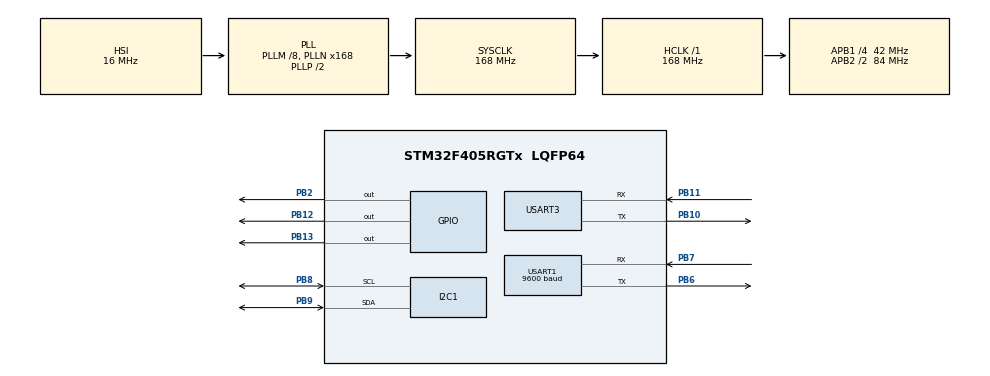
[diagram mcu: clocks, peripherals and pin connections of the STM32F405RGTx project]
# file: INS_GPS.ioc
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Dma.I2C1_RX.1.Direction=DMA_PERIPH_TO_MEMORY
Dma.I2C1_RX.1.FIFOMode=DMA_FIFOMODE_DISABLE
Dma.I2C1_RX.1.Instance=DMA1_Stream0
Dma.I2C1_RX.1.MemDataAlignment=DMA_MDATAALIGN_BYTE
Dma.I2C1_RX.1.MemInc=DMA_MINC_ENABLE
Dma.I2C1_RX.1.Mode=DMA_NORMAL
Dma.I2C1_RX.1.PeriphDataAlignment=DMA_PDATAALIGN_BYTE
Dma.I2C1_RX.1.PeriphInc=DMA_PINC_DISABLE
Dma.I2C1_RX.1.Priority=DMA_PRIORITY_LOW
Dma.I2C1_TX.2.Direction=DMA_MEMORY_TO_PERIPH
Dma.I2C1_TX.2.FIFOMode=DMA_FIFOMODE_DISABLE
Dma.I2C1_TX.2.Instance=DMA1_Stream6
Dma.I2C1_TX.2.MemDataAlignment=DMA_MDATAALIGN_BYTE
Dma.I2C1_TX.2.MemInc=DMA_MINC_ENABLE
Dma.I2C1_TX.2.Mode=DMA_NORMAL
Dma.I2C1_TX.2.PeriphDataAlignment=DMA_PDATAALIGN_BYTE
Dma.I2C1_TX.2.PeriphInc=DMA_PINC_DISABLE
Dma.I2C1_TX.2.Priority=DMA_PRIORITY_LOW
Dma.Request0=USART3_TX
Dma.Request1=I2C1_RX
Dma.Request2=I2C1_TX
Dma.USART3_TX.0.Direction=DMA_MEMORY_TO_PERIPH
Dma.USART3_TX.0.FIFOMode=DMA_FIFOMODE_DISABLE
Dma.USART3_TX.0.Instance=DMA1_Stream3
Dma.USART3_TX.0.MemDataAlignment=DMA_MDATAALIGN_BYTE
Dma.USART3_TX.0.MemInc=DMA_MINC_ENABLE
Dma.USART3_TX.0.Mode=DMA_NORMAL
Dma.USART3_TX.0.PeriphDataAlignment=DMA_PDATAALIGN_BYTE
Dma.USART3_TX.0.PeriphInc=DMA_PINC_DISABLE
Dma.USART3_TX.0.Priority=DMA_PRIORITY_LOW
I2C1.I2C_Mode=I2C_Fast
Mcu.Family=STM32F4
Mcu.Name=STM32F405RGTx
Mcu.Package=LQFP64
NVIC.DMA1_Stream0_IRQn=true\:0\:0\:false\:false\:true\:false\:true
NVIC.DMA1_Stream3_IRQn=true\:0\:0\:false\:false\:true\:false\:true
NVIC.DMA1_Stream6_IRQn=true\:0\:0\:false\:false\:true\:false\:true
NVIC.I2C1_ER_IRQn=true\:0\:0\:false\:false\:true\:true\:true
NVIC.I2C1_EV_IRQn=true\:0\:0\:false\:false\:true\:true\:true
NVIC.PriorityGroup=NVIC_PRIORITYGROUP_4
NVIC.USART1_IRQn=true\:0\:0\:false\:false\:true\:true\:true
NVIC.USART3_IRQn=true\:0\:0\:false\:false\:true\:true\:true
PA13.Mode=Serial_Wire
PA13.Signal=SYS_JTMS-SWDIO
PA14.Mode=Serial_Wire
PA14.Signal=SYS_JTCK-SWCLK
PB10.Mode=Asynchronous
PB10.Signal=USART3_TX
PB11.Mode=Asynchronous
PB11.Signal=USART3_RX
PB12.Signal=GPIO_Output
PB13.Signal=GPIO_Output
PB2.Signal=GPIO_Output
PB6.Mode=Asynchronous
PB6.Signal=USART1_TX
PB7.Mode=Asynchronous
PB7.Signal=USART1_RX
PB8.Mode=I2C
PB8.Signal=I2C1_SCL
PB9.Mode=I2C
PB9.Signal=I2C1_SDA
PH0-OSC_IN.Mode=HSE-External-Oscillator
PH0-OSC_IN.Signal=RCC_OSC_IN
PH1-OSC_OUT.Mode=HSE-External-Oscillator
PH1-OSC_OUT.Signal=RCC_OSC_OUT
ProjectManager.HeapSize=0x200
ProjectManager.StackSize=0x400
ProjectManager.TargetToolchain=STM32CubeIDE
RCC.48MHZClocksFreq_Value=84000000
RCC.AHBFreq_Value=168000000
RCC.APB1CLKDivider=RCC_HCLK_DIV4
RCC.APB1Freq_Value=42000000
RCC.APB1TimFreq_Value=84000000
RCC.APB2CLKDivider=RCC_HCLK_DIV2
RCC.APB2Freq_Value=84000000
RCC.APB2TimFreq_Value=168000000
RCC.CortexFreq_Value=168000000
RCC.HCLKFreq_Value=168000000
RCC.HSE_VALUE=12000000
RCC.HSI_VALUE=16000000
RCC.LSE_VALUE=32768
RCC.PLLM=8
RCC.PLLN=168
RCC.SYSCLKFreq_VALUE=168000000
RCC.SYSCLKSource=RCC_SYSCLKSOURCE_PLLCLK
RCC.VCOOutputFreq_Value=336000000
TIM4.Prescaler=167
USART1.BaudRate=9600
USART1.VirtualMode=VM_ASYNC
USART3.VirtualMode=VM_ASYNC
VP_TIM4_VS_ClockSourceINT.Mode=Internal
board=custom

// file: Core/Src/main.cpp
/* USER CODE BEGIN Header */
/**
  ******************************************************************************
  * @file           : main.c
  * @brief          : Main program body
  ******************************************************************************
  * @attention
  *
  * <h2><center>&copy; Copyright (c) 2021 STMicroelectronics.
  * All rights reserved.</center></h2>
  *
  * This software component is licensed by ST under BSD 3-Clause license,
  * the "License"; You may not use this file except in compliance with the
  * License. You may obtain a copy of the License at:
  *                        opensource.org/licenses/BSD-3-Clause
  *
  ******************************************************************************
  */
/* USER CODE END Header */
#include "main.h"

/* USER CODE BEGIN Includes */
#define ARM_MATH_CM4

#include "arm_math.h"
#include "mpu9250.hpp"
#include "EKF2.h"
#include "calib_magnet.h"
#include "gps.h"
#include "uart_dma.h"

/* USER CODE END Includes */

I2C_HandleTypeDef hi2c1;
DMA_HandleTypeDef hdma_i2c1_rx;
DMA_HandleTypeDef hdma_i2c1_tx;

TIM_HandleTypeDef htim4;

UART_HandleTypeDef huart1;
UART_HandleTypeDef huart3;
DMA_HandleTypeDef hdma_usart3_tx;

void SystemClock_Config(void);
static void MX_GPIO_Init(void);
static void MX_DMA_Init(void);
static void MX_I2C1_Init(void);
static void MX_TIM4_Init(void);
static void MX_USART1_UART_Init(void);
static void MX_USART3_UART_Init(void);

/* USER CODE BEGIN 0 */
IMU_data data_imu_temp;
IMU_data data_imu_raw;
IMU_data data_imu_buffer;
IMU_data data_imu_com;
MAG_data mag;
float dt = 0.01;
EKF2 ekf;

char Rx_indx,Rx_indx1, Rx_data[2], Rx_Buffer[100], location[100],Rx_data1[1], Rx_Buffer1[100],Transfer_cplt;
char* c = "OK";
uint8_t start;
char test[100];
char delim[] = ",";
volatile GPS gps;

void HAL_UART_RxCpltCallback(UART_HandleTypeDef *huart)
{
    uint8_t i;
    if (huart->Instance == USART1)  //current UART
        {
        if (Rx_indx==0) {for (i=0;i<100;i++) Rx_Buffer[i]=0;}   //clear Rx_Buffer before receiving new data

        if (Rx_data[0]!=10) //if received data different from ascii 13 (enter)
            {
            Rx_Buffer[Rx_indx++]=Rx_data[0];    //add data to Rx_Buffer
            }
        else            //if received data = 13
            {
        	//Rx_Buffer[Rx_indx++] = 13;
            Rx_indx=0;
            char * t = "\n";
            Transfer_cplt=1;//transfer complete, data is ready to read

            process_NMEA(&gps,Rx_Buffer);
            UARTAddToTxBuff("helllo\n",7);
        	char buffer[35];
        	char temp[15];

        	float Lat = gps.Lat_Deg + gps.Lat_Minute/100.0;
        	float Lon = gps.Lon_Deg + gps.Lon_Minute/100.0;
            ftoa(Lat, buffer, 15);
            strcat(buffer," ");
            UARTAddToTxBuff((uint8_t*) buffer, strlen(buffer));
            ftoa(Lon, buffer, 15);
            strcat(buffer,"\n");
            UARTAddToTxBuff((uint8_t*) buffer, strlen(buffer));
//        	printf("Hello\n");

            }

          //activate UART receive interrupt every time
        }
    HAL_UART_Receive_IT(&huart1, (uint8_t *) Rx_data, 1);
    if (huart->Instance == USART3) {
        if (__HAL_UART_GET_FLAG (&huart3, UART_FLAG_IDLE)) {

        }
      }
}

/* USER CODE END 0 */

int main(void)
{

  /* MCU Configuration--------------------------------------------------------*/

  /* Reset of all peripherals, Initializes the Flash interface and the Systick. */
  HAL_Init();

  /* Configure the system clock */
  SystemClock_Config();

  /* Initialize all configured peripherals */
  MX_GPIO_Init();
  MX_DMA_Init();
  MX_I2C1_Init();
  MX_TIM4_Init();
  MX_USART1_UART_Init();
  MX_USART3_UART_Init();

  init_MPU();
  calibration_IMU();
  ekf.x_[4] = bGx * DEC2RAD;
  ekf.x_[5] = bGy * DEC2RAD;
  ekf.x_[6] = bGz * DEC2RAD;

  ekf.loadEKF();
  calib_magnet();
  HAL_TIM_Base_Start(&htim4);
  UARTTXInit();
  HAL_UART_Receive_IT(&huart1, (uint8_t *) Rx_data, 1);

  /* USER CODE END 2 */

  /* Infinite loop */
  while (1)
  {

    /* USER CODE BEGIN 3 */
	  int start = TIM4->CNT;
	  data_imu_buffer = process_MPU_DMA(true, true);
//	  ekf.updateEKF(data_imu_buffer,mag, 0.01);
//	  mag = magnet_get_raw();

//      HAL_Delay(3);
//      HAL_UART_Transmit(&huart3,(uint8_t*)"hello",100,100);
	  int stop = TIM4->CNT;
	  HAL_GPIO_TogglePin(GPIOB,GPIO_PIN_13);
	  int time = stop - start;
  }

  /* USER CODE END 3 */
}

void SystemClock_Config(void)
{
  RCC_OscInitTypeDef RCC_OscInitStruct = {0};
  RCC_ClkInitTypeDef RCC_ClkInitStruct = {0};

  /** Configure the main internal regulator output voltage
  */
  __HAL_RCC_PWR_CLK_ENABLE();
  __HAL_PWR_VOLTAGESCALING_CONFIG(PWR_REGULATOR_VOLTAGE_SCALE1);
  /** Initializes the RCC Oscillators according to the specified parameters
  * in the RCC_OscInitTypeDef structure.
  */
  RCC_OscInitStruct.OscillatorType = RCC_OSCILLATORTYPE_HSI;
  RCC_OscInitStruct.HSIState = RCC_HSI_ON;
  RCC_OscInitStruct.HSICalibrationValue = RCC_HSICALIBRATION_DEFAULT;
  RCC_OscInitStruct.PLL.PLLState = RCC_PLL_ON;
  RCC_OscInitStruct.PLL.PLLSource = RCC_PLLSOURCE_HSI;
  RCC_OscInitStruct.PLL.PLLM = 8;
  RCC_OscInitStruct.PLL.PLLN = 168;
  RCC_OscInitStruct.PLL.PLLP = RCC_PLLP_DIV2;
  RCC_OscInitStruct.PLL.PLLQ = 4;
  if (HAL_RCC_OscConfig(&RCC_OscInitStruct) != HAL_OK)
  {
    Error_Handler();
  }
  /** Initializes the CPU, AHB and APB buses clocks
  */
  RCC_ClkInitStruct.ClockType = RCC_CLOCKTYPE_HCLK|RCC_CLOCKTYPE_SYSCLK
                              |RCC_CLOCKTYPE_PCLK1|RCC_CLOCKTYPE_PCLK2;
  RCC_ClkInitStruct.SYSCLKSource = RCC_SYSCLKSOURCE_PLLCLK;
  RCC_ClkInitStruct.AHBCLKDivider = RCC_SYSCLK_DIV1;
  RCC_ClkInitStruct.APB1CLKDivider = RCC_HCLK_DIV4;
  RCC_ClkInitStruct.APB2CLKDivider = RCC_HCLK_DIV2;

  if (HAL_RCC_ClockConfig(&RCC_ClkInitStruct, FLASH_LATENCY_5) != HAL_OK)
  {
    Error_Handler();
  }
}

static void MX_I2C1_Init(void)
{

  hi2c1.Instance = I2C1;
  hi2c1.Init.ClockSpeed = 400000;
  hi2c1.Init.DutyCycle = I2C_DUTYCYCLE_2;
  hi2c1.Init.OwnAddress1 = 0;
  hi2c1.Init.AddressingMode = I2C_ADDRESSINGMODE_7BIT;
  hi2c1.Init.DualAddressMode = I2C_DUALADDRESS_DISABLE;
  hi2c1.Init.OwnAddress2 = 0;
  hi2c1.Init.GeneralCallMode = I2C_GENERALCALL_DISABLE;
  hi2c1.Init.NoStretchMode = I2C_NOSTRETCH_DISABLE;
  if (HAL_I2C_Init(&hi2c1) != HAL_OK)
  {
    Error_Handler();
  }

}

static void MX_TIM4_Init(void)
{

  TIM_ClockConfigTypeDef sClockSourceConfig = {0};
  TIM_MasterConfigTypeDef sMasterConfig = {0};

  htim4.Instance = TIM4;
  htim4.Init.Prescaler = 167;
  htim4.Init.CounterMode = TIM_COUNTERMODE_UP;
  htim4.Init.Period = 65535;
  htim4.Init.ClockDivision = TIM_CLOCKDIVISION_DIV1;
  htim4.Init.AutoReloadPreload = TIM_AUTORELOAD_PRELOAD_DISABLE;
  if (HAL_TIM_Base_Init(&htim4) != HAL_OK)
  {
    Error_Handler();
  }
  sClockSourceConfig.ClockSource = TIM_CLOCKSOURCE_INTERNAL;
  if (HAL_TIM_ConfigClockSource(&htim4, &sClockSourceConfig) != HAL_OK)
  {
    Error_Handler();
  }
  sMasterConfig.MasterOutputTrigger = TIM_TRGO_RESET;
  sMasterConfig.MasterSlaveMode = TIM_MASTERSLAVEMODE_DISABLE;
  if (HAL_TIMEx_MasterConfigSynchronization(&htim4, &sMasterConfig) != HAL_OK)
  {
    Error_Handler();
  }

}

static void MX_USART1_UART_Init(void)
{

  huart1.Instance = USART1;
  huart1.Init.BaudRate = 9600;
  huart1.Init.WordLength = UART_WORDLENGTH_8B;
  huart1.Init.StopBits = UART_STOPBITS_1;
  huart1.Init.Parity = UART_PARITY_NONE;
  huart1.Init.Mode = UART_MODE_TX_RX;
  huart1.Init.HwFlowCtl = UART_HWCONTROL_NONE;
  huart1.Init.OverSampling = UART_OVERSAMPLING_16;
  if (HAL_UART_Init(&huart1) != HAL_OK)
  {
    Error_Handler();
  }

}

static void MX_USART3_UART_Init(void)
{

  huart3.Instance = USART3;
  huart3.Init.BaudRate = 115200;
  huart3.Init.WordLength = UART_WORDLENGTH_8B;
  huart3.Init.StopBits = UART_STOPBITS_1;
  huart3.Init.Parity = UART_PARITY_NONE;
  huart3.Init.Mode = UART_MODE_TX_RX;
  huart3.Init.HwFlowCtl = UART_HWCONTROL_NONE;
  huart3.Init.OverSampling = UART_OVERSAMPLING_16;
  if (HAL_UART_Init(&huart3) != HAL_OK)
  {
    Error_Handler();
  }

}

static void MX_DMA_Init(void)
{

  /* DMA controller clock enable */
  __HAL_RCC_DMA1_CLK_ENABLE();

  /* DMA interrupt init */
  /* DMA1_Stream0_IRQn interrupt configuration */
  HAL_NVIC_SetPriority(DMA1_Stream0_IRQn, 0, 0);
  HAL_NVIC_EnableIRQ(DMA1_Stream0_IRQn);
  /* DMA1_Stream3_IRQn interrupt configuration */
  HAL_NVIC_SetPriority(DMA1_Stream3_IRQn, 0, 0);
  HAL_NVIC_EnableIRQ(DMA1_Stream3_IRQn);
  /* DMA1_Stream6_IRQn interrupt configuration */
  HAL_NVIC_SetPriority(DMA1_Stream6_IRQn, 0, 0);
  HAL_NVIC_EnableIRQ(DMA1_Stream6_IRQn);

}

static void MX_GPIO_Init(void)
{
  GPIO_InitTypeDef GPIO_InitStruct = {0};

  /* GPIO Ports Clock Enable */
  __HAL_RCC_GPIOH_CLK_ENABLE();
  __HAL_RCC_GPIOB_CLK_ENABLE();
  __HAL_RCC_GPIOA_CLK_ENABLE();

  /*Configure GPIO pin Output Level */
  HAL_GPIO_WritePin(GPIOB, GPIO_PIN_2|GPIO_PIN_12|GPIO_PIN_13, GPIO_PIN_RESET);

  /*Configure GPIO pins : PB2 PB12 PB13 */
  GPIO_InitStruct.Pin = GPIO_PIN_2|GPIO_PIN_12|GPIO_PIN_13;
  GPIO_InitStruct.Mode = GPIO_MODE_OUTPUT_PP;
  GPIO_InitStruct.Pull = GPIO_NOPULL;
  GPIO_InitStruct.Speed = GPIO_SPEED_FREQ_LOW;
  HAL_GPIO_Init(GPIOB, &GPIO_InitStruct);

}

void Error_Handler(void)
{
  __disable_irq();
  while (1)
  {
  }
}

/************************ (C) COPYRIGHT STMicroelectronics *****END OF FILE****/
